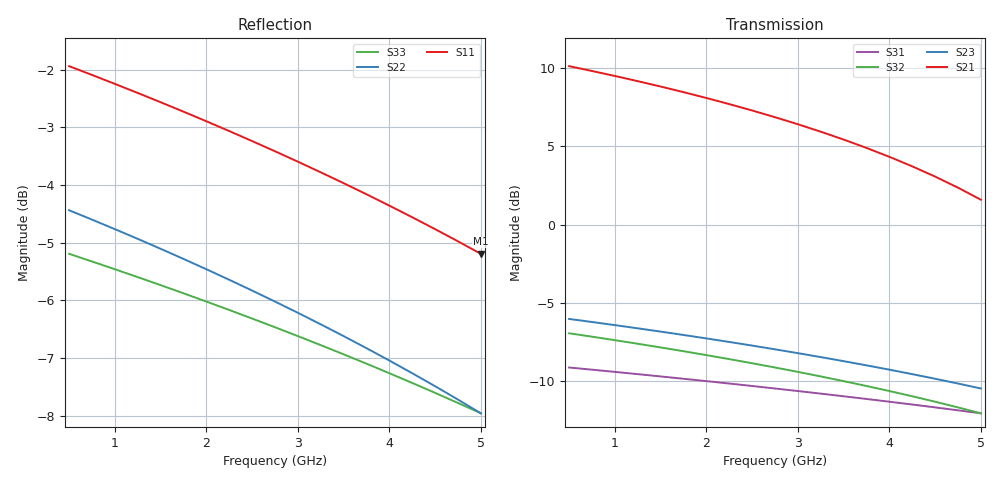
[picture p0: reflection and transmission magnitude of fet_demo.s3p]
! synthetic demo transistor (common-source FET-like), 3-port
! port 1 = gate/input, port 2 = drain/output, port 3 = source
# GHz S RI R 50
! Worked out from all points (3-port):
!   19 points, 500 MHz to 5 GHz, reference 50 ohm
!   strongest paths, dB at 500 MHz, 1.5 GHz, 2.75 GHz, 4 GHz, 5 GHz:
!     S21: 10.1, 8.8, 6.8, 4.3, 1.6
!     S23: -6.0, -6.8, -8.0, -9.3, -10.5
!     S32: -6.9, -7.8, -9.1, -10.6, -12.0
!     S31: -9.1, -9.7, -10.5, -11.3, -12.0
!   lowest |S11| = -5.2 dB at 5 GHz (marker M1), VSWR 3.44, Z = 18.8 - j25.7 ohm
!   |S11| at or under -10 dB: nowhere
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0.5  0.725 -0.3381  0.02 0.0346  0.15 -0.2598
     -3.007 1.094  0.5638 -0.2052  -0.383 0.3214
     0.1197 -0.3289  -0.2893 0.3447  0.4505 -0.3155
1  0.6282 -0.449  0.0265 0.0329  0.1144 -0.2653
   -2.549 1.539  0.5112 -0.2693  -0.3071 0.366
   0.0845 -0.3282  -0.221 0.3663  0.3879 -0.366
1.5  0.5161 -0.5365  0.0329 0.0299  0.0797 -0.2661
     -2.041 1.852  0.452 -0.3231  -0.2278 0.3945
     0.0507 -0.3238  -0.1534 0.3754  0.3205 -0.4053
2  0.3938 -0.5988  0.039 0.0256  0.0463 -0.2626
   -1.513 2.032  0.3879 -0.366  -0.1482 0.4072
   0.0184 -0.3161  -0.0884 0.373  0.25 -0.433
2.25  0.3305 -0.6202  0.0418 0.0231  0.0303 -0.2594
      -1.252 2.074  0.3547 -0.3833  -0.1093 0.4078
      0.00302 -0.3111  -0.0575 0.3678  0.2142 -0.4425
2.75  0.203 -0.6438  0.047 0.0171  0 -0.25
      -0.7524 2.067  0.2868 -0.4096  -0.0349 0.3985
      -0.0261 -0.2989  0 0.35  0.1428 -0.453
3.25  0.0783 -0.6425  0.0512 0.0101  -0.0277 -0.2373
      -0.3056 1.954  0.2186 -0.4249  0.0329 0.3763
      -0.0529 -0.284  0.0507 0.3238  0.073 -0.4525
4  -0.0936 -0.5983  0.0555 -0.00215  -0.0637 -0.2129
   0.2225 1.629  0.1192 -0.4282  0.1178 0.3237
   -0.0881 -0.2576  0.1114 0.2726  -0.0252 -0.4326
4.5  -0.1923 -0.5448  0.0567 -0.0111  -0.0836 -0.1938
     0.4604 1.346  0.0571 -0.4183  0.1611 0.2791
     -0.108 -0.2377  0.1407 0.2331  -0.0843 -0.4081
5  -0.275 -0.4763  0.0564 -0.0205  -0.1 -0.1732
   0.6 1.039  0 -0.4  0.1928 0.2298
   -0.125 -0.2165  0.1607 0.1915  -0.1368 -0.3759
